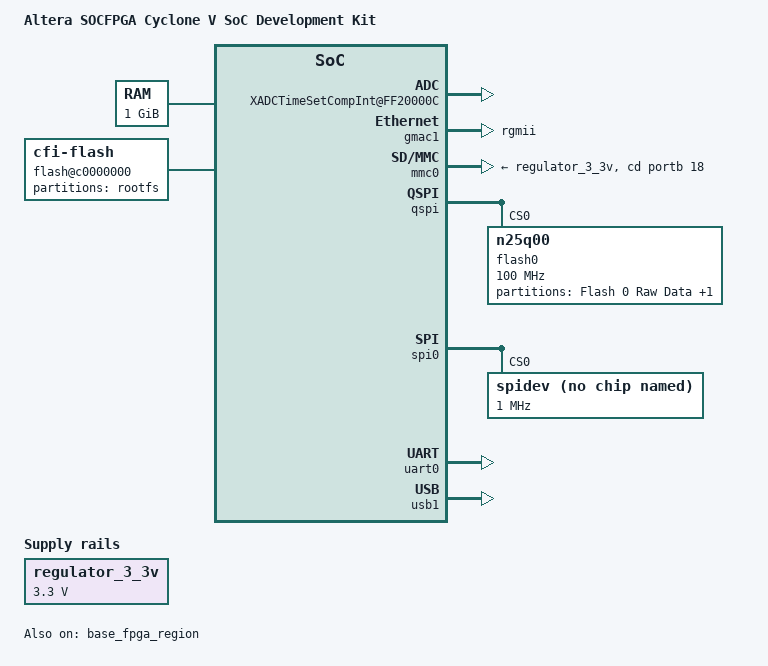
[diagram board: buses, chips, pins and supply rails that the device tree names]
/*
 * Copyright Altera Corporation (C) 2012,2014. All rights reserved.
 *
 * This program is free software; you can redistribute it and/or modify
 * it under the terms and conditions of the GNU General Public License,
 * version 2, as published by the Free Software Foundation.
 *
 * This program is distributed in the hope it will be useful, but WITHOUT
 * ANY WARRANTY; without even the implied warranty of MERCHANTABILITY or
 * FITNESS FOR A PARTICULAR PURPOSE.  See the GNU General Public License for
 * more details.
 *
 * You should have received a copy of the GNU General Public License along with
 * this program.  If not, see <http://www.gnu.org/licenses/>.
 */

#include "socfpga_cyclone5.dtsi"

/ {
	model = "Altera SOCFPGA Cyclone V SoC Development Kit";
	compatible = "altr,socfpga-cyclone5-socdk", "altr,socfpga-cyclone5", "altr,socfpga";

	chosen {
		bootargs = "earlyprintk";
		stdout-path = "serial0:115200n8";
	};

	memory {
		name = "memory";
		device_type = "memory";
		reg = <0x0 0x40000000>; /* 1GB */
	};

	aliases {
		/* this allow the ethaddr uboot environmnet variable contents
		 * to be added to the gmac1 device tree blob.
		 */
		ethernet0 = &gmac1;
	};

	regulator_3_3v: 3-3-v-regulator {
		compatible = "regulator-fixed";
		regulator-name = "3.3V";
		regulator-min-microvolt = <3300000>;
		regulator-max-microvolt = <3300000>;
	};

	fpga_bridge2: fpga-bridge@ff600000 {
			compatible = "altr,socfpga-fpga2hps-bridge";
			reg = <0xff600000 0x100000>;
			resets = <&rst FPGA2HPS_RESET>;
			reset-names = "fpga2hps";
			clocks = <&l4_main_clk>;
		};

		fpga_bridge3: fpga2sdram-bridge {
			compatible = "altr,socfpga-fpga2sdram-bridge";
		};

		fpga_mgr: fpga-mgr@ff706000 {
			compatible = "altr,socfpga-fpga-mgr";
			reg = <0xff706000 0x1000
			       0xffb90000 0x20>;
			interrupts = <0 175 4>;
		};
	flash@c0000000 {
			compatible = "cfi-flash";
			reg = <0xc0000000 0x4000000>;
			bank-width = <2>;
			#address-cells = <1>;
			#size-cells = <1>;
			partition@400000 {
				label = "rootfs";
				reg = <0x400000 0x3C00000>;
			};
	};

   	sdramedac {
   		status = "disabled";
   	};
   
		
		
			partition@nand-boot {
				/* 8MB for raw data. */
				label = "NAND Flash Boot Area 8MB";
				reg = <0x0 0x800000>;
			};
			partition@nand-rootfs {
				/* 128MB jffs2 root filesystem. */
				label = "NAND Flash jffs2 Root Filesystem 128MB";
				reg = <0x800000 0x8000000>;
			};
			partition@nand-128 {
				label = "NAND Flash 128 MB";
				reg = <0x8800000 0x8000000>;
			};
			partition@nand-64 {
				label = "NAND Flash 64 MB";
				reg = <0x10800000 0x4000000>;
			};
			partition@nand-32 {
				label = "NAND Flash 32 MB";
				reg = <0x14800000 0x2000000>;
			};
			partition@nand-16 {
				label = "NAND Flash 16 MB";
				reg = <0x16800000 0x1000000>;
			};
			
			
			HWDIEccL2BWRInt@FF200000 {
      compatible = "generic-uio";
      interrupts = < 0 35 1 >;
      interrupt-parent = <&intc>;
   };

      HWDIEccL2CrctInt@FF200001 {
      compatible = "generic-uio";
      interrupts = < 0 36 1 >;
      interrupt-parent = <&intc>;
   };
   
      HWDIEccL2ErrInt@FF200002 {
      compatible = "generic-uio";
      interrupts = < 0 37 1 >;
      interrupt-parent = <&intc>;
   };

      HWDIEccDdrErrInt@FF200003 {
      compatible = "generic-uio";
      interrupts = < 0 39 1 >;
      interrupt-parent = <&intc>;
   };
   
   HWDIErrInt@FF200004 {
      compatible = "generic-uio";
      interrupts = < 0 40 1 >;
      interrupt-parent = <&intc>;
   };
   
   RISWTgrKey1Int@FF200005 {
      compatible = "generic-uio";
      interrupts = < 0 41 1 >;
      interrupt-parent = <&intc>;
   };
   
   
   RISWTgrKey2Int@FF200006 {
      compatible = "generic-uio";
      interrupts = < 0 42 1 >;
      interrupt-parent = <&intc>;
   };
   
   
   RISWPushBtnInt@FF200007 {
      compatible = "generic-uio";
      interrupts = < 0 43 1 >;
      interrupt-parent = <&intc>;
   };
   
   GAWDUserWdtErrorInt@FF200008 {
      compatible = "generic-uio";
      interrupts = < 0 45 1 >;
      interrupt-parent = <&intc>;
   };
   
   XPTMTimeoutEventInt@FF200009 {
      compatible = "generic-uio";
      interrupts = < 0 55 1 >;
      interrupt-parent = <&intc>;
   };
   
   XIMGGlbIntUnmaskInt@FF20000A {
      compatible = "generic-uio";
      interrupts = < 0 56 1 >;
      interrupt-parent = <&intc>;
   };
   
   XIMGGblAreaInt@FF20000B {
      compatible = "generic-uio";
      interrupts = < 0 69 1 >;
      interrupt-parent = <&intc>;
   };
   
   XADCTimeSetCompInt@FF20000C {
      compatible = "generic-uio";
      interrupts = < 0 70 1 >;
      interrupt-parent = <&intc>;
   };
   
   XIMGYInt@FF20000D {
      compatible = "generic-uio";
      interrupts = < 0 84 1 >;
      interrupt-parent = <&intc>;
   };
   
   UNMGLowInt@FF20000E {
      compatible = "generic-uio";
      interrupts = < 0 93 1 >;
      interrupt-parent = <&intc>;
   };
   
   UPDMAsynDmaIntInt@FF20000F {
      compatible = "generic-uio";
      interrupts = < 0 100 1 >;
      interrupt-parent = <&intc>;
   };
   
   XPTM_OSC1Tmr1Int@FF200010 {
      compatible = "generic-uio";
      interrupts = < 0 170 1 >;
      interrupt-parent = <&intc>;
   };
   
   HWDIEccIRamCrctInt@FF200011 {
      compatible = "generic-uio";
      interrupts = < 0 178 1 >;
      interrupt-parent = <&intc>;
   };
   
   HWDIEccIRamErrInt@FF200012 {
      compatible = "generic-uio";
      interrupts = < 0 179 1 >;
      interrupt-parent = <&intc>;
   };
		
};

&gmac1 {
	status = "okay";
	phy-mode = "rgmii";

	rxd0-skew-ps = <0>;
	rxd1-skew-ps = <0>;
	rxd2-skew-ps = <0>;
	rxd3-skew-ps = <0>;
	txen-skew-ps = <0>;
	txc-skew-ps = <2600>;
	rxdv-skew-ps = <0>;
	rxc-skew-ps = <2000>;
	max-frame-size = <3800>;
};

&gpio0 {
	status = "okay";
};

&gpio1 {
	status = "okay";
};

&gpio2 {
	status = "okay";
};
&mmc0 {
	cd-gpios = <&portb 18 0>;
	vmmc-supply = <&regulator_3_3v>;
	vqmmc-supply = <&regulator_3_3v>;
	status = "okay";
	};

&qspi {
	status = "okay";
	flash0: n25q00@0 {
		#address-cells = <1>;
		#size-cells = <1>;
		compatible = "n25q00";
		reg = <0>;      /* chip select */
		spi-max-frequency = <100000000>;

		cdns,page-size = <256>;
		cdns,block-size = <16>;
		cdns,read-delay = <4>;
		cdns,tshsl-ns = <50>;
		cdns,tsd2d-ns = <50>;
		cdns,tchsh-ns = <4>;
		cdns,tslch-ns = <4>;

		partition@qspi-boot {
			/* 8MB for raw data. */
			label = "Flash 0 Raw Data";
			reg = <0x0 0x800000>;
		};
		partition@qspi-rootfs {
			/* 120MB for jffs2 data. */
			label = "Flash 0 jffs2 Filesystem";
			reg = <0x800000 0x7800000>;
		};
	};
};

&spi0 {
	status = "okay";

	spidev@0 {
		/* spidev causes a WARN_ON() so spoof with DAC compat */
		compatible = "rohm,dh2228fv";
		reg = <0>;	/* chip select */
		spi-max-frequency = <1000000>;
		enable-dma = <1>;
	};
};

&uart0 {
	status = "okay";
};

&usb1 {
	status = "okay";
};

&base_fpga_region {
	status = "okay";
};

&ddr_dqs_clk_gate{
	status = "disabled";
};

&ddr_2x_dqs_clk_gate{
	status = "disabled";
};

&ddr_dq_clk_gate {
	status = "disabled";
};

&h2f_user2_clk{
	status = "disabled";
};

&timer3 {
	status = "disabled";
};
/*
&rst {
	status = "disabled";
		};

&sdr {
	status = "disabled";
		};
*/		

&scu {
	status = "disabled";
		};


